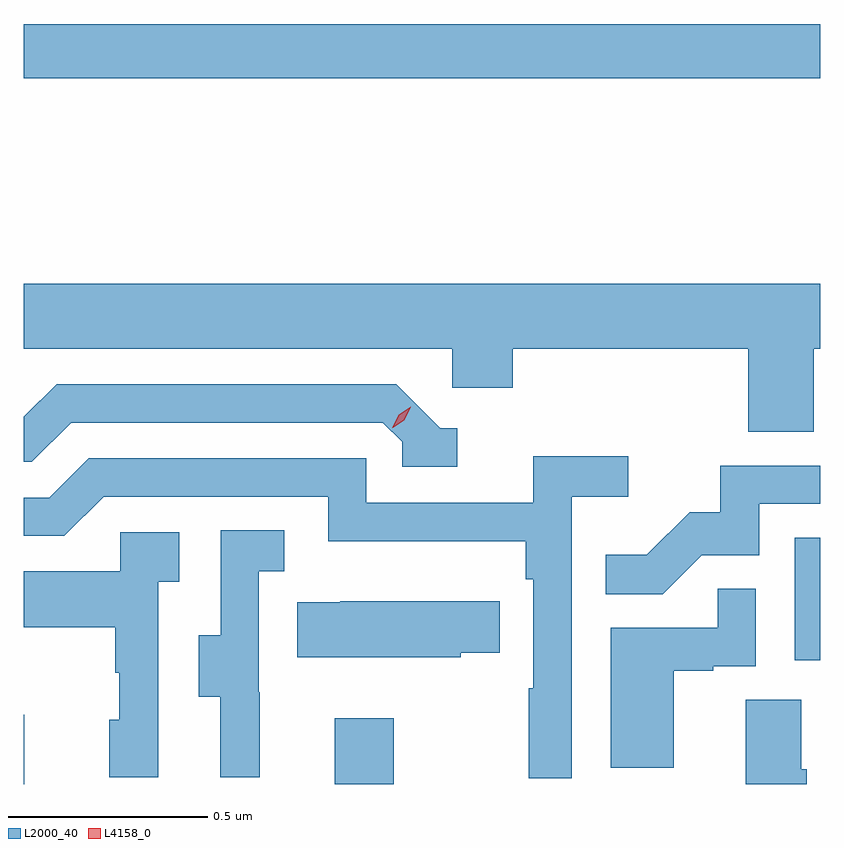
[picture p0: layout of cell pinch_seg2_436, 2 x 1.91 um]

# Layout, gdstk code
import gdstk
lib = gdstk.Library(unit=1e-6, precision=1e-09)
def R(c, l, rs):  # rectangles x0, y0, x1, y1
    for r in rs: c.add(gdstk.rectangle(r[:2], r[2:], *l))
def P(c, l, *ps):  # polygons
    for p in ps: c.add(gdstk.Polygon(p, *l))
L2000_40 = (2000, 40)
L4158_0 = (4158, 0)

pinch_seg2_436 = lib.new_cell('pinch_seg2_436')
R(pinch_seg2_436, L2000_40, [(948.862,622.567,948.863,622.741), (949.643,622.567,949.791,622.732), (950.798,622.878,950.862,623.185), (948.862,624.34,950.862,624.476)])
P(pinch_seg2_436, L2000_40, [(950.846,623.66),(950.862,623.66),(950.862,623.824),(948.862,623.824),(948.862,623.66),(949.938,623.66),(949.938,623.562),(950.09,623.562),(950.09,623.66),(950.681,623.66),(950.681,623.452),(950.846,623.452)],
  [(949.951,623.46),(949.908,623.46),(949.797,623.571),(948.944,623.571),(948.862,623.489),(948.862,623.376),(948.882,623.376),(948.981,623.475),(949.764,623.475),(949.812,623.427),(949.812,623.364),(949.951,623.364)],
  [(950.238,623.288),(950.38,623.288),(950.38,623.39),(950.141,623.39),(950.141,623.274),(949.722,623.274),(949.722,623.385),(949.025,623.385),(948.926,623.286),(948.862,623.286),(948.862,623.19),(948.963,623.19),(949.062,623.289),(949.626,623.289),(949.626,623.177),(950.122,623.177),(950.122,623.081),(950.142,623.081),(950.142,622.808),(950.13,622.808),(950.13,622.581),(950.238,622.581)],
  [(950.565,623.142),(950.709,623.142),(950.709,623.271),(950.862,623.271),(950.862,623.367),(950.611,623.367),(950.611,623.25),(950.534,623.25),(950.427,623.143),(950.323,623.143),(950.323,623.044),(950.467,623.044)],
  [(949.454,622.797),(949.452,622.797),(949.452,623.101),(949.516,623.101),(949.516,623.204),(949.356,623.204),(949.356,622.941),(949.301,622.941),(949.301,622.786),(949.355,622.786),(949.355,622.584),(949.454,622.584)],
  [(949.2,623.075),(949.252,623.075),(949.252,623.199),(949.104,623.199),(949.104,623.101),(948.862,623.101),(948.862,622.961),(949.092,622.961),(949.092,622.847),(949.102,622.847),(949.102,622.728),(949.076,622.728),(949.076,622.584),(949.2,622.584)],
  [(950.494,622.851),(950.594,622.851),(950.594,622.863),(950.7,622.863),(950.7,623.057),(950.605,623.057),(950.605,622.959),(950.336,622.959),(950.336,622.608),(950.494,622.608)],
  [(949.959,622.897),(950.057,622.897),(950.057,623.026),(949.657,623.026),(949.657,623.023),(949.549,623.023),(949.549,622.886),(949.959,622.886)],
  [(950.828,622.604),(950.815,622.604),(950.815,622.778),(950.675,622.778),(950.675,622.567),(950.828,622.567)])
P(pinch_seg2_436, L4158_0, [(949.787,623.462),(949.787,623.462),(949.803,623.495),(949.834,623.514),(949.834,623.514),(949.834,623.514),(949.818,623.481),(949.788,623.462)])

lib.write_gds('pinch_seg2_436.gds')
